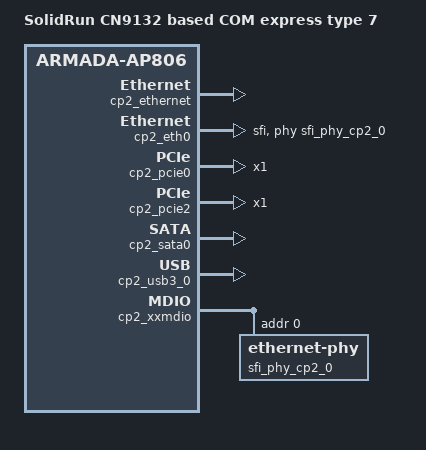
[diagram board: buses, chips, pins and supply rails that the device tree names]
/*
 * Copyright (C) 2020 SolidRun ltd.
 *
 * SPDX-License-Identifier:    GPL-2.0
 * https://spdx.org/licenses
 */

#include "cn9131-cex7-A.dts"
#include "cn9132-cex7.dtsi"

/ {
	model = "SolidRun CN9132 based COM express type 7";
	compatible = "marvell,cn9132-db", "marvell,armada-ap806-quad",
		     "marvell,armada-ap806";
};

&cp2_comphy {
	phy0 {
		phy-type = <COMPHY_TYPE_PEX0>;
	};

	phy1 {
		phy-type = <COMPHY_TYPE_USB3_HOST0>;
	};

	phy2 {
		phy-type = <COMPHY_TYPE_SFI0>;
	//	phy-speed = <COMPHY_SPEED_5_15625G>;
		phy-speed = <COMPHY_SPEED_10_3125G>;
	};

	phy3 {
		phy-type = <COMPHY_TYPE_SATA1>;
	};

	phy4 {
		phy-type = <COMPHY_TYPE_PEX1>;
	};

	phy5 {
		phy-type = <COMPHY_TYPE_PEX2>;
	};
};

// &cp2_ld_efuse1 {
// 	status = "okay";
// };

&cp2_ethernet {
	status = "okay";
};

/* PHY1 */
&cp2_eth0 {
	status = "okay";
	phy-mode = "sfi";
	phy = <&sfi_phy_cp2_0>;
};

/* AI Module */
&cp2_pcie0 {
	num-lanes = <1>;
	status = "okay";
};

/* NVMe1 */
&cp2_pcie2 {
	num-lanes = <1>;
	status = "okay";
};

/* SATA0 */
&cp2_sata0 {
        status = "okay";
};

/* USB Hub */
&cp2_usb3_0 {
        status = "okay";
};

&cp2_pinctl {
	/* MPP Bus:
	*	[0-11]		GPIO
	*	[12-26]		NC
	*	[27]		GPIO
	*	[28-30]		PTP
	*	[31-32]		GPIO
	*	[33-34]		NC
	*	[35-36]		I2C1
	*	[37-38]		XMDIO (XSMI)
	*	[39]		NC
	*	[40]		GPIO
	*	[41]		NC
	*	[42-43]		GPIO
	*	[44-49]		NC
	*	[50]		SFP_INT
	*	[51-54]		NC
	*	[55-56]		GPIO
	*	[57-62]		NC
	*/
		/*   0    1    2    3    4    5    6    7    8    9 */
	pin-func = < 0x0  0x0  0x0  0x0  0x0  0x0  0x0  0x0  0x0  0x0
		     0x0  0x0  0xff 0xff 0xff 0xff 0xff 0xff 0xff 0xff
		     0xff 0xff 0xff 0xff 0xff 0xff 0xff 0x0  0x7  0x7
		     0x7  0x0  0x0  0xff 0xff 0x2  0x2  0x8  0x8  0xff
		     0x0  0xff 0x0  0x0  0xff 0xff 0xff 0xff 0xff 0xff
		     0x0  0xff 0xff 0xff 0xff 0x0  0x0  0xff 0xff 0xff
		     0xff 0xff 0xff >;
};


&cp2_xxmdio {
        status = "okay";
        pinctrl-0 = <&cp2_xmdio_pins>;
        sfi_phy_cp2_0: ethernet-phy@0 {
                reg = <0>;
        };
};



&cp2_pinctl {
        compatible = "marvell,mvebu-pinctrl",
                     "marvell,cp115-standalone-pinctrl";
        bank-name ="cp2-110";

        cp2_xmdio_pins: cp2-xmdio-pins-0 {
                marvell,pins = < 37 38 >;
                marvell,function = <8>;
        };
        cp2_i2c1_pins: cp2-i2c-pins-0 {
                marvell,pins = < 35 36 >;
                marvell,function = <2>;
        };
};
